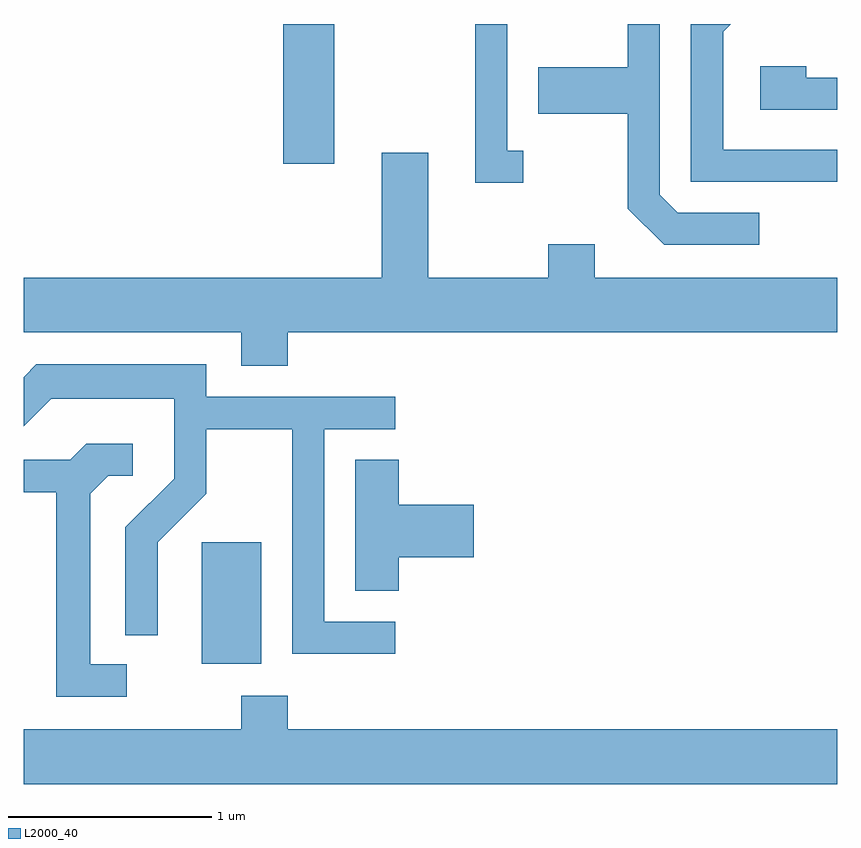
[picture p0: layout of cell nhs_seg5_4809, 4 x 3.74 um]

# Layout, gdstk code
import gdstk
lib = gdstk.Library(unit=1e-6, precision=1e-09)
def R(c, l, rs):  # rectangles x0, y0, x1, y1
    for r in rs: c.add(gdstk.rectangle(r[:2], r[2:], *l))
def P(c, l, *ps):  # polygons
    for p in ps: c.add(gdstk.Polygon(p, *l))
L2000_40 = (2000, 40)

nhs_seg5_4809 = lib.new_cell('nhs_seg5_4809')
R(nhs_seg5_4809, L2000_40, [(328.486,1472.926,328.779,1473.524), (328.886,1475.386,329.139,1476.072)])
P(nhs_seg5_4809, L2000_40, [(331.611,1475.454),(331.049,1475.454),(331.049,1476.034),(331.087,1476.072),(330.891,1476.072),(330.891,1475.296),(331.611,1475.296)],
  [(330.068,1475.449),(329.989,1475.449),(329.989,1476.072),(329.831,1476.072),(329.831,1475.291),(330.068,1475.291)],
  [(331.228,1475.144),(330.827,1475.144),(330.739,1475.232),(330.739,1476.072),(330.581,1476.072),(330.581,1475.859),(330.141,1475.859),(330.141,1475.631),(330.581,1475.631),(330.581,1475.164),(330.759,1474.986),(331.228,1474.986)],
  [(331.611,1475.809),(331.459,1475.809),(331.459,1475.864),(331.231,1475.864),(331.231,1475.651),(331.611,1475.651)],
  [(331.611,1474.824),(330.419,1474.824),(330.419,1474.989),(330.191,1474.989),(330.191,1474.824),(329.599,1474.824),(329.599,1475.439),(329.371,1475.439),(329.371,1474.824),(327.611,1474.824),(327.611,1474.556),(328.681,1474.556),(328.681,1474.391),(328.909,1474.391),(328.909,1474.556),(331.611,1474.556)],
  [(329.438,1473.134),(329.089,1473.134),(329.089,1474.081),(329.438,1474.081),(329.438,1474.239),(328.509,1474.239),(328.509,1474.399),(327.674,1474.399),(327.611,1474.336),(327.611,1474.095),(327.747,1474.231),(328.351,1474.231),(328.351,1473.837),(328.111,1473.597),(328.111,1473.068),(328.269,1473.068),(328.269,1473.524),(328.509,1473.764),(328.509,1474.081),(328.931,1474.081),(328.931,1472.976),(329.438,1472.976)],
  [(328.118,1472.924),(327.939,1472.924),(327.939,1473.764),(328.027,1473.851),(328.148,1473.851),(328.148,1474.009),(327.919,1474.009),(327.839,1473.929),(327.611,1473.929),(327.611,1473.771),(327.771,1473.771),(327.771,1472.766),(328.118,1472.766)],
  [(329.454,1473.451),(329.824,1473.451),(329.824,1473.709),(329.454,1473.709),(329.454,1473.929),(329.241,1473.929),(329.241,1473.286),(329.454,1473.286)],
  [(331.611,1472.604),(328.909,1472.604),(328.909,1472.769),(328.681,1472.769),(328.681,1472.604),(327.611,1472.604),(327.611,1472.336),(331.611,1472.336)])

lib.write_gds('nhs_seg5_4809.gds')
